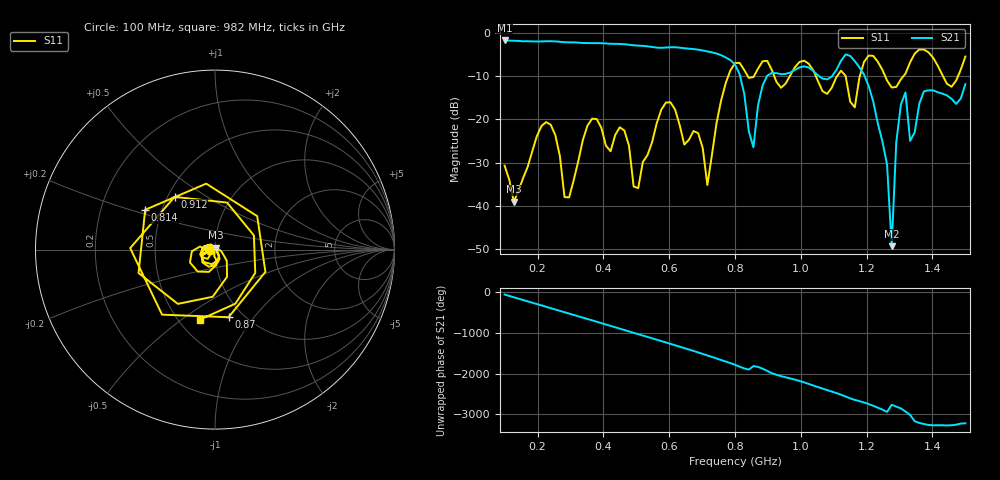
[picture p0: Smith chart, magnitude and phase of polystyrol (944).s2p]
! NanoVNA-App
! Date: 2025-09-25 15:37:13
! Start: 100MHz Stop: 1,5GHz Points: 101
! S-Parameter data: F S11 S21 S12 S22
# Hz S RI R 50
!  Frequency  S11_Real  S11_Imag  S21_Real  S21_Imag  S12_Real  S12_Imag  S22_Real  S22_Imag
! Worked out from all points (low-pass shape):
!   101 points, 100 MHz to 1.5 GHz, reference 50 ohm
!   highest |S21| = -1.80 dB at 100 MHz (marker M1); lowest = -49.3 dB at 1.276 GHz (marker M2)
!   |S21| within 3 dB of the highest: start of sweep to 743.1 MHz
!   lowest |S11| = -39.1 dB at 128 MHz (marker M3), VSWR 1.02, Z = 50.3 + j1.07 ohm
!   |S11| at or under -10 dB: start of sweep to 779.8 MHz; 1.045 GHz to 1.111 GHz (65.25 MHz wide, 6.05 % of centre); 1.256 GHz to 1.312 GHz (56.31 MHz wide, 4.38 % of centre) (the widest 3 of 7)
!   S12 and S22 are empty: the file has one direction only
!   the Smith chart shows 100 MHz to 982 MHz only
!   S11 on the Smith chart (normalised r, x): 100 MHz: 0.94, -0.01; 814 MHz: 0.40, +0.22; 870 MHz: 0.86, -0.76; 912 MHz: 0.54, +0.37; 982 MHz: 0.63, -0.59
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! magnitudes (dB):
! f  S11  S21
! 100 MHz  -30.7  -1.8
! 128 MHz  -39.1  -1.9
! 212 MHz  -21.6  -2.0
! 282 MHz  -38.0  -2.2
! 338 MHz  -24.7  -2.4
! 506 MHz  -35.9  -3.0
! 576 MHz  -17.8  -3.5
! 716 MHz  -35.2  -4.3
! 800 MHz  -7.0  -7.3
! 814 MHz  -7.0  -9.6
! 856 MHz  -10.3  -26.5
! 870 MHz  -8.3  -16.8
! 912 MHz  -8.6  -9.3
! 982 MHz  -8.0  -8.6
! 1.038 GHz  -8.7  -8.9
! 1.192 GHz  -6.8  -9.7
! 1.262 GHz  -11.1  -30.5
! 1.276 GHz  -12.7  -49.3
! 1.29 GHz  -12.5  -25.3
! 1.318 GHz  -9.5  -13.8
! 1.332 GHz  -6.9  -25.0
! 1.5 GHz  -5.5  -11.9
